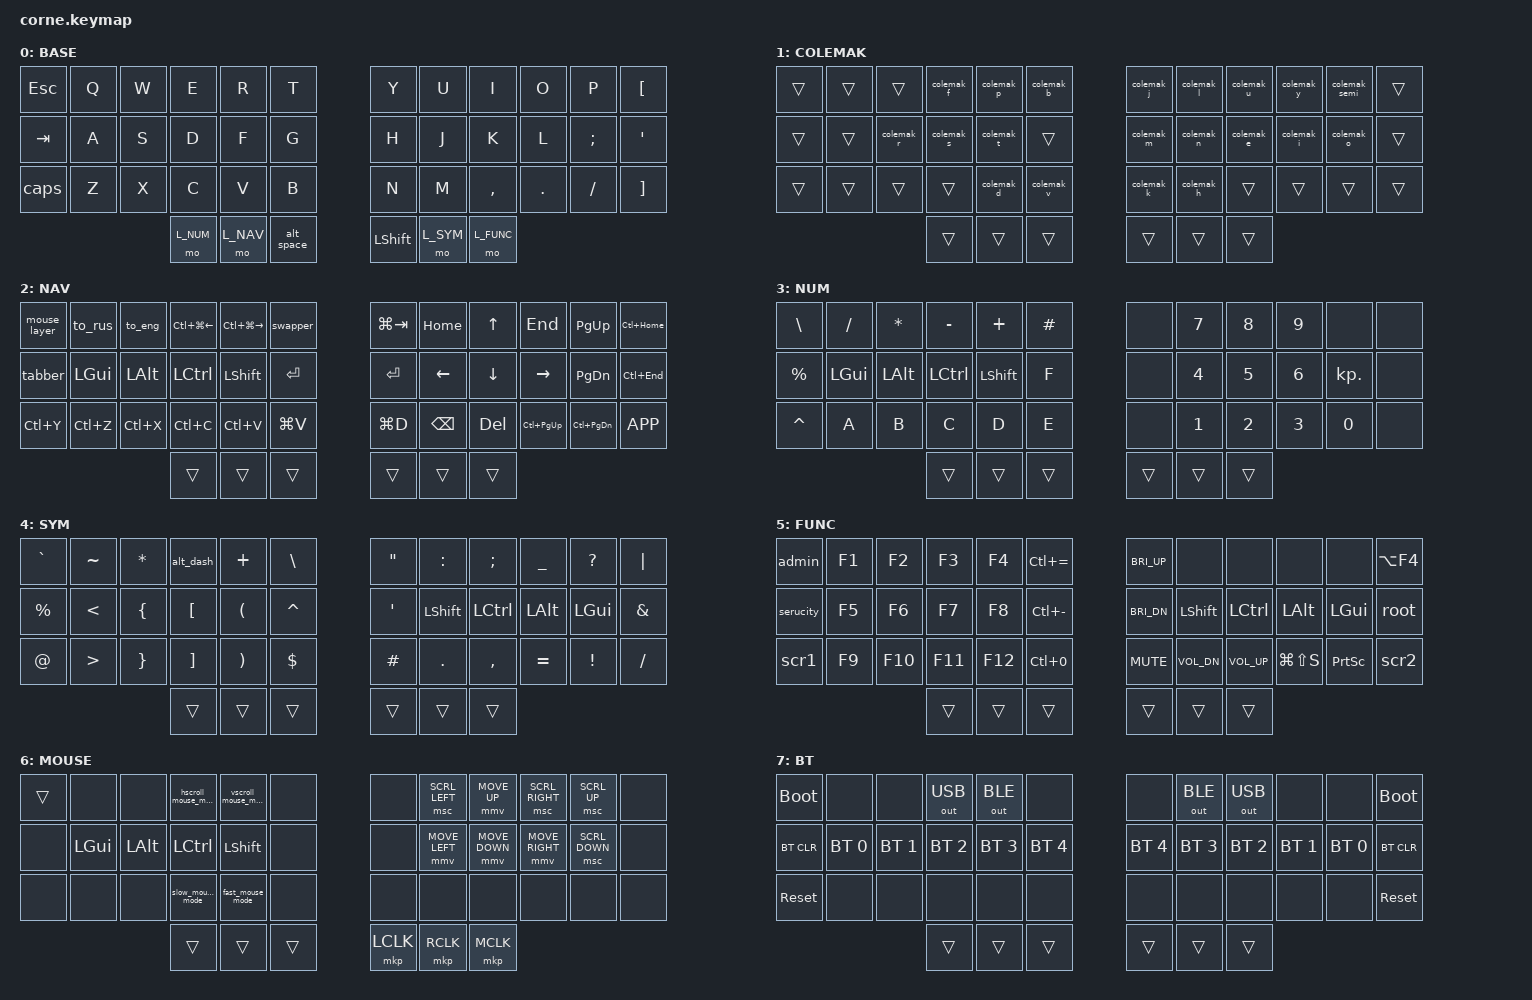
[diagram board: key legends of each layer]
// comment

#define ZMK_POINTING_DEFAULT_MOVE_VAL 600  // 600
#define ZMK_POINTING_DEFAULT_SCRL_VAL 20   // 10

#include <behaviors/mouse_keys.dtsi>
#include <dt-bindings/zmk/mouse.h>
#include <behaviors.dtsi>
#include <dt-bindings/zmk/bt.h>
#include <dt-bindings/zmk/keys.h>
#include <dt-bindings/zmk/outputs.h>
#include <dt-bindings/zmk/pointing.h>
#include <behaviors/caps_word_ru.dtsi>

#define COLEMAK_MM(name, X, Y) \
name: name { \
  compatible = "zmk,behavior-mod-morph"; \
  #binding-cells = <0>; \
  bindings = <&kp X>, <&kp Y>; \
  mods = <(MOD_LCTL|MOD_LALT|MOD_LGUI)>; \
  keep-mods = <(MOD_LCTL|MOD_LALT|MOD_LGUI)>; \
};

#define L_BASE    0
#define L_COLEMAK 1
#define L_NAV     2
#define L_NUM     3
#define L_SYM     4
#define L_FUNC    5
#define L_MOUSE   6
#define L_BT      7

&lt { quick-tap-ms = <200>; };

&mt { quick-tap-ms = <200>; };

&mmv {
    acceleration-exponent = <1>;
    time-to-max-speed-ms = <0>;
    delay-ms = <0>;
    trigger-period-ms = <8>;
};

&msc {
    acceleration-exponent = <1>;
    time-to-max-speed-ms = <0>;
    delay-ms = <0>;
    trigger-period-ms = <8>;
};

/ {
    conditional_layers { compatible = "zmk,conditional-layers"; };

    macros {
        to_rus: to_rus {
            compatible = "zmk,behavior-macro";
            #binding-cells = <0>;
            bindings = <&kp LS(LC(N2)) &tog_off L_COLEMAK>;
            label = "TO_RUSSIAN";
        };

        to_qwerty: to_qwerty {
            compatible = "zmk,behavior-macro";
            #binding-cells = <0>;
            bindings = <&kp LS(LC(N1)) &tog_off L_COLEMAK>;
            label = "TO_QWERTY";
        };

        to_colemak: to_colemak {
            compatible = "zmk,behavior-macro";
            #binding-cells = <0>;
            bindings = <&kp LS(LC(N1)) &tog_on L_COLEMAK>;
            label = "TO_COLEMAK";
        };

        // ---- Текстовые макросы для слоя FUNC ----
        admin: admin {
            compatible = "zmk,behavior-macro";
            #binding-cells = <0>;
            bindings = <&kp A &kp D &kp M &kp I &kp N>;
            label = "ADMIN";
        };

        serucity: serucity {
            compatible = "zmk,behavior-macro";
            #binding-cells = <0>;
            bindings = <&kp S &kp E &kp R &kp U &kp C &kp I &kp T &kp Y>;
            label = "SERUCITY";
        };

        scr1: scr1 {
            compatible = "zmk,behavior-macro";
            #binding-cells = <0>;
            bindings = <&kp P &kp A &kp S &kp S &kp LS(W) &kp O &kp R &kp D &kp N1>;
            label = "SCR1";
        };

        root: root {
            compatible = "zmk,behavior-macro";
            #binding-cells = <0>;
            bindings = <&kp R &kp O &kp O &kp T>;
            label = "ROOT";
        };

        scr2: scr2 {
            compatible = "zmk,behavior-macro";
            #binding-cells = <0>;
            bindings = <&kp F &kp H &kp B &kp C &kp SQT &kp R &kp C &kp G>;
            label = "SCR2";
        };

        // F13
        slow_mouse_mode: slow_mouse_mode {
            compatible = "zmk,behavior-macro";
            #binding-cells = <0>;
            wait-ms = <0>;
            tap-ms  = <0>;
            bindings = <&macro_tap &kt_off F14 &kt_off F15 &kt_off F16 &kt_on F13>;
        };

        // F14
        fast_mouse_mode: fast_mouse_mode {
            compatible = "zmk,behavior-macro";
            #binding-cells = <0>;
            wait-ms = <0>;
            tap-ms  = <0>;
            bindings = <&macro_tap &kt_off F13 &kt_off F15 &kt_off F16 &kt_on F14>;
        };

        // F15
        hscroll_mouse_mode: hscroll_mouse_mode {
            compatible = "zmk,behavior-macro";
            #binding-cells = <0>;
            wait-ms = <0>;
            tap-ms  = <0>;
            bindings = <&macro_tap &kt_off F13 &kt_off F14 &kt_on F15>;
        };

        // F16
        vscroll_mouse_mode: vscroll_mouse_mode {
            compatible = "zmk,behavior-macro";
            #binding-cells = <0>;
            wait-ms = <0>;
            tap-ms  = <0>;
            bindings = <&macro_tap &kt_off F13 &kt_off F14 &kt_on F16>;
        };

        mouse_mode_reset: mouse_mode_reset {
            compatible = "zmk,behavior-macro";
            #binding-cells = <0>;
            wait-ms = <0>;
            tap-ms  = <0>;
            bindings = <&macro_tap &kt_off F13 &kt_off F14 &kt_off F15 &kt_off F16>;
        };

        mouse_layer_off: mouse_layer_off {
            compatible = "zmk,behavior-macro";
            #binding-cells = <0>;
            wait-ms = <0>;
            tap-ms  = <0>;
            bindings = <&macro_tap &mouse_mode_reset &tog_off L_MOUSE>;
        };
    };

    combos {
        compatible = "zmk,combos";

        bt_left_combo {
            bindings = <&mo L_BT>;
            key-positions = <36 37 38>;
        };

        bt_right_combo {
            bindings = <&mo L_BT>;
            key-positions = <39 40 41>;
        };
    };

    behaviors {
        swapper: swapper {
            compatible = "zmk,behavior-tri-state";
            label = "SWAPPER";
            #binding-cells = <0>;
            bindings = <&kt LALT>, <&kp TAB>, <&kt LALT>;
            ignored-key-positions = <8 19 20 21 39>;
        };

        tabber: tabber {
            compatible = "zmk,behavior-tri-state";
            label = "TABBER";
            #binding-cells = <0>;
            bindings = <&kt LCTRL>, <&kp TAB>, <&kt LCTRL>;
            ignored-key-positions = <8 16 19 20 21 39>;
        };

        mouse_layer: mouse_layer {
            compatible = "zmk,behavior-tri-state";
            label = "MOUSE_LAYER";
            #binding-cells = <0>;
            bindings = <&tog_on L_MOUSE>, <&mouse_mode_reset>, <&mouse_layer_off>;
            ignored-layers = <L_MOUSE>;
            ignored-key-positions = <3 4 7 8 9 10 13 14 15 16 19 20 21 22 27 28 39 40 41>;
        };

        alt_space: alt_space {
            compatible = "zmk,behavior-mod-morph";
            #binding-cells = <0>;
            bindings = <&kp SPACE>, <&kp RA(SPACE)>;
            mods = <(MOD_LALT|MOD_LCTL)>;
            label = "ALT_SPACE";
        };

        alt_dash: alt_dash {
            compatible = "zmk,behavior-mod-morph";
            #binding-cells = <0>;
            bindings = <&kp MINUS>, <&kp RA(MINUS)>;
            mods = <(MOD_LSFT)>;
            label = "ALT_DASH";
        };

        caps: caps {
            compatible = "zmk,behavior-mod-morph";
            label = "CAPS";
            bindings = <&caps_word_ru>, <&kp CAPS>;
            #binding-cells = <0>;
            mods = <(MOD_LSFT)>;
        };

        kt_on: key_toggle_on_only {
            compatible = "zmk,behavior-key-toggle";
            #binding-cells = <1>;
            toggle-mode = "on";
        };

        kt_off: key_toggle_off_only {
            compatible = "zmk,behavior-key-toggle";
            #binding-cells = <1>;
            toggle-mode = "off";
        };

        tog_on: layer_toggle_on_only {
            compatible = "zmk,behavior-toggle-layer";
            #binding-cells = <1>;
            toggle-mode = "on";
        };

        tog_off: layer_toggle_off_only {
            compatible = "zmk,behavior-toggle-layer";
            #binding-cells = <1>;
            toggle-mode = "off";
        };

        to_eng: to_eng {
            compatible = "zmk,behavior-mod-morph";
            bindings = <&to_qwerty>, <&to_colemak>;
            #binding-cells = <0>;
            mods = <MOD_LSFT>;
        };

        COLEMAK_MM(colemak_f, F, E)
        COLEMAK_MM(colemak_p, P, R)
        COLEMAK_MM(colemak_b, B, T)
        COLEMAK_MM(colemak_r, R, S)
        COLEMAK_MM(colemak_s, S, D)
        COLEMAK_MM(colemak_t, T, F)
        COLEMAK_MM(colemak_d, D, V)
        COLEMAK_MM(colemak_v, V, B)
        COLEMAK_MM(colemak_j, J, Y)
        COLEMAK_MM(colemak_l, L, U)
        COLEMAK_MM(colemak_u, U, I)
        COLEMAK_MM(colemak_y, Y, O)
        COLEMAK_MM(colemak_semi, SEMI, P)
        COLEMAK_MM(colemak_m, M, H)
        COLEMAK_MM(colemak_n, N, J)
        COLEMAK_MM(colemak_e, E, K)
        COLEMAK_MM(colemak_i, I, L)
        COLEMAK_MM(colemak_o, O, SEMI)
        COLEMAK_MM(colemak_k, K, N)
        COLEMAK_MM(colemak_h, H, M)
    };

    keymap {
        compatible = "zmk,keymap";

        BASE {
            display-name = "BASE";
            bindings = <
&kp ESC  &kp Q  &kp W  &kp E      &kp R      &kp T       &kp Y      &kp U      &kp I       &kp O    &kp P     &kp LBKT
&kp TAB  &kp A  &kp S  &kp D      &kp F      &kp G       &kp H      &kp J      &kp K       &kp L    &kp SEMI  &kp SQT
&caps    &kp Z  &kp X  &kp C      &kp V      &kp B       &kp N      &kp M      &kp COMMA   &kp DOT  &kp FSLH  &kp RBKT
                       &mo L_NUM  &mo L_NAV  &alt_space  &kp LSHFT  &mo L_SYM  &mo L_FUNC
            >;
        };

        COLEMAK {
            display-name = "COLEMAK";
            bindings = <
&trans  &trans  &trans      &colemak_f  &colemak_p  &colemak_b  &colemak_j  &colemak_l  &colemak_u  &colemak_y  &colemak_semi  &trans
&trans  &trans  &colemak_r  &colemak_s  &colemak_t  &trans      &colemak_m  &colemak_n  &colemak_e  &colemak_i  &colemak_o    &trans
&trans  &trans  &trans      &trans      &colemak_d  &colemak_v  &colemak_k  &colemak_h  &trans      &trans      &trans        &trans
                            &trans      &trans      &trans      &trans      &trans      &trans
            >;
        };

        NAV {
            display-name = "NAV";
            bindings = <
&mouse_layer  &to_rus    &to_eng    &kp LC(LG(LEFT))  &kp LC(LG(RIGHT))  &swapper   &kp LG(TAB)  &kp HOME  &kp UP    &kp END        &kp PG_UP      &kp LC(HOME)
&tabber       &kp LGUI   &kp LALT   &kp LCTRL         &kp LSHFT          &kp RET    &kp RET      &kp LEFT  &kp DOWN  &kp RIGHT      &kp PG_DN      &kp LC(END)
&kp LC(Y)     &kp LC(Z)  &kp LC(X)  &kp LC(C)         &kp LC(V)          &kp LG(V)  &kp LG(D)    &kp BSPC  &kp DEL   &kp LC(PG_UP)  &kp LC(PG_DN)  &kp K_APP
                                    &trans            &trans             &trans     &trans       &trans    &trans
            >;
        };

        NUM {
            display-name = "NUM";
            bindings = <
&kp BSLH     &kp FSLH   &kp ASTRK  &kp MINUS  &kp PLUS   &kp HASH    &none   &kp N7  &kp N8  &kp N9  &none       &none
&kp PERCENT  &kp LGUI   &kp LALT   &kp LCTRL  &kp LSHFT  &kp F       &none   &kp N4  &kp N5  &kp N6  &kp KP_DOT  &none
&kp CARET    &kp A      &kp B      &kp C      &kp D      &kp E       &none   &kp N1  &kp N2  &kp N3  &kp N0      &none
                                   &trans     &trans     &trans      &trans  &trans  &trans
            >;
        };

        SYM {
            display-name = "SYM";
            bindings = <
&kp GRAVE   &kp TILDE   &kp ASTRK   &alt_dash   &kp PLUS    &kp BSLH     &kp DOUBLE_QUOTES  &kp COLON  &kp SEMI  &kp UNDERSCORE  &kp QMARK  &kp PIPE
&kp PRCNT   &kp LT      &kp LBRC    &kp LBKT    &kp LPAR    &kp CARET    &kp SINGLE_QUOTE   &kp LSHFT  &kp LCTRL &kp LALT        &kp LGUI   &kp AMPS
&kp AT      &kp GT      &kp RBRC    &kp RBKT    &kp RPAR    &kp DOLLAR   &kp HASH           &kp DOT    &kp COMMA &kp EQUAL       &kp EXCL   &kp SLASH
                                    &trans      &trans      &trans       &trans             &trans     &trans
            >;
        };

        FUNC {
            display-name = "FUNC";
            bindings = <
&admin     &kp F1  &kp F2   &kp F3   &kp F4   &kp LC(EQUAL)  &kp C_BRI_UP  &none         &none         &none          &none      &kp LA(F4)
&serucity  &kp F5  &kp F6   &kp F7   &kp F8   &kp LC(MINUS)  &kp C_BRI_DN  &kp LSHFT     &kp LCTRL     &kp LALT       &kp LGUI   &root
&scr1      &kp F9  &kp F10  &kp F11  &kp F12  &kp LC(N0)     &kp C_MUTE    &kp C_VOL_DN  &kp C_VOL_UP  &kp LG(LS(S))  &kp PSCRN  &scr2
                        &trans   &trans   &trans         &trans        &trans        &trans
            >;
        };

        MOUSE {
            display-name = "MOUSE";
            bindings = <
&trans  &none     &none     &hscroll_mouse_mode  &vscroll_mouse_mode  &none   &none      &msc SCRL_LEFT  &mmv MOVE_UP    &msc SCRL_RIGHT  &msc SCRL_UP    &none
&none   &kp LGUI  &kp LALT  &kp LCTRL            &kp LSHFT            &none   &none      &mmv MOVE_LEFT  &mmv MOVE_DOWN  &mmv MOVE_RIGHT  &msc SCRL_DOWN  &none
&none   &none     &none     &slow_mouse_mode     &fast_mouse_mode     &none   &none      &none           &none           &none            &none           &none
                            &trans               &trans               &trans  &mkp LCLK  &mkp RCLK       &mkp MCLK
            >;
        };

        BT {
            display-name = "BT";
            bindings = <
&bootloader  &none         &none         &out OUT_USB  &out OUT_BLE  &none         &none         &out OUT_BLE  &out OUT_USB  &none         &none         &bootloader
&bt BT_CLR   &bt BT_SEL 0  &bt BT_SEL 1  &bt BT_SEL 2  &bt BT_SEL 3  &bt BT_SEL 4  &bt BT_SEL 4  &bt BT_SEL 3  &bt BT_SEL 2  &bt BT_SEL 1  &bt BT_SEL 0  &bt BT_CLR
&sys_reset   &none         &none         &none         &none         &none         &none         &none         &none         &none         &none         &sys_reset
                                         &trans        &trans        &trans        &trans        &trans        &trans
            >;
        };
    };
};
